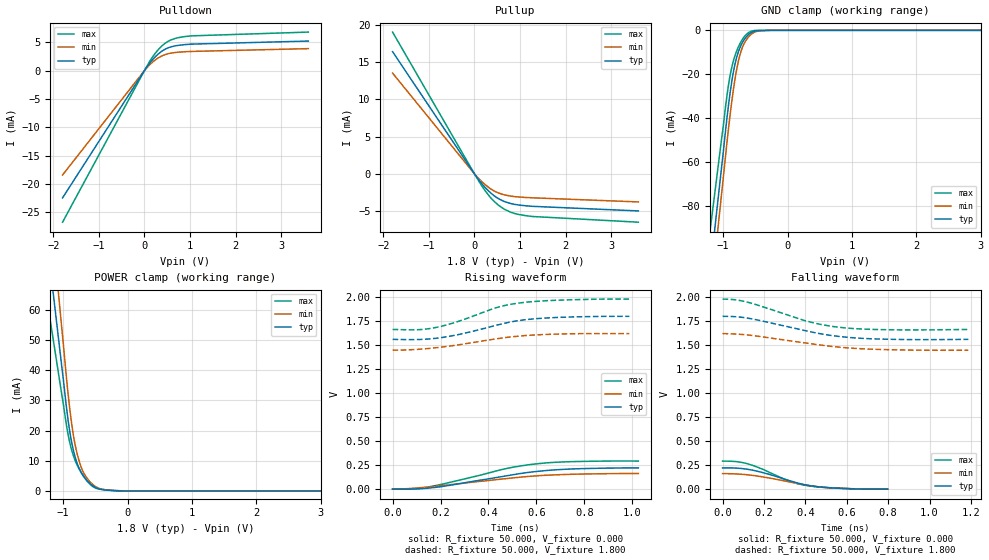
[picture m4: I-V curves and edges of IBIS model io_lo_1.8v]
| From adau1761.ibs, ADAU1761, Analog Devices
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[Model]   io_lo_1.8v
Model_type I/O
Vinl=5.400E-01
Vinh=1.260E+00
Vref=0.000E+00
Rref=1.000E+06
Cref=0.000E+00
Vmeas=9.000E-01
C_comp   5.9300E-13   5.6335E-13   6.2265E-13
[Voltage Range]   1.800E+00   1.620E+00   1.980E+00
[POWER Clamp Reference]   1.800E+00   1.620E+00   1.980E+00
[GND Clamp Reference]   0.000E+00   0.000E+00   0.000E+00
[Pullup Reference]   1.800E+00   1.620E+00   1.980E+00
[Pulldown Reference]   0.000E+00   0.000E+00   0.000E+00
[Temperature Range]   25   85   -40
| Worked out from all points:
|   slope of the pulldown table from 0 to 0.27 V, typ, clamps not added: 101 ohm
|   slope of the pullup table from 0 to 0.27 V, typ, clamps not added: 132 ohm
|   GND clamp passes 1 mA (typ) near -0.56 V on its own axis
|   POWER clamp passes 1 mA (typ) near -0.49 V on its own axis
|   rising waveform, R_fixture 50.000, V_fixture 0.000: 20-80 % time 328ps typ, 367ps min, 297ps max; typ from 0 V to 0.221 V
|   falling waveform, R_fixture 50.000, V_fixture 0.000: 20-80 % time 215ps typ, 247ps min, 198ps max; typ from 0.221 V to 0 V
|   rising waveform, R_fixture 50.000, V_fixture 1.800: 20-80 % time 245ps typ, 281ps min, 227ps max; typ from 1.56 V to 1.8 V
|   falling waveform, R_fixture 50.000, V_fixture 1.800: 20-80 % time 313ps typ, 355ps min, 280ps max; typ from 1.8 V to 1.56 V
[GND Clamp]
-1.8V     -268.6mA   -290.1mA   -230.3mA
-1.02V    -61.15mA   -73.22mA   -48.42mA
-940mV    -39.73mA   -50.88mA   -29.56mA
-900mV    -30.16mA   -40.48mA   -21.87mA
-840mV    -18.83mA   -26.81mA   -13.83mA
-800mV    -13.43mA   -19.4mA    -10.19mA
-760mV    -9.503mA   -13.59mA   -7.341mA
-700mV    -5.509mA   -7.683mA   -4.062mA
-580mV    -1.339mA   -2.195mA   -633.1uA
-460mV    -150.5uA   -377.7uA   -23.99uA
-260mV    0A         0A         0A
3.6V      0A         0A         0A
[Power Clamp]
-1.8V     183.5mA    228.1mA    138.6mA
-1.02V    40.95mA    53.63mA    31.77mA
-920mV    22.93mA    31.48mA    18.32mA
-860mV    15.28mA    21.08mA    12.95mA
-820mV    11.68mA    15.91mA    10.41mA
-760mV    7.89mA     10.52mA    7.596mA
-700mV    5.482mA    6.827mA    5.382mA
-620mV    3.263mA    3.949mA    3.04mA
-520mV    1.403mA    1.792mA    1.2mA
-400mV    439.1uA    567.1uA    515.2uA
-60mV     0A         0A         0A
3.6V      0A         0A         0A
[Pullup]
-1.8V     16.4mA     13.53mA    19.03mA
20mV      -175.8uA   -144uA     -201.8uA
180mV     -1.456mA   -1.144mA   -1.777mA
340mV     -2.458mA   -1.945mA   -3.083mA
540mV     -3.369mA   -2.589mA   -4.254mA
660mV     -3.717mA   -2.815mA   -4.751mA
800mV     -3.979mA   -2.98mA    -5.15mA
1.14V     -4.284mA   -3.163mA   -5.614mA
3.6V      -4.965mA   -3.755mA   -6.475mA
[Pulldown]
-1.8V     -22.47mA   -18.43mA   -26.77mA
40mV      472uA      373.3uA    582.4uA
140mV     1.559mA    1.217mA    1.943mA
260mV     2.605mA    2.001mA    3.279mA
380mV     3.408mA    2.573mA    4.334mA
460mV     3.791mA    2.83mA     4.854mA
680mV     4.363mA    3.188mA    5.677mA
1.02V     4.649mA    3.365mA    6.103mA
3.6V      5.199mA    3.864mA    6.784mA
[Rising Waveform]
R_fixture = 50.000
V_fixture = 0.000
V_fixture_min = 0.000
V_fixture_max = 0.000
|  time   V(typ)   V(min)   V(max)
0s        0V         0V         0V
87.5ps    1.466mV    9.053mV    2.779mV
147.5ps   9.757mV    21.81mV    21.35mV
207.5ps   27.74mV    37.22mV    52.05mV
470ps     136.3mV    108.5mV    211.9mV
527.5ps   160.1mV    123.1mV    238.9mV
587.5ps   180.4mV    136.2mV    259.7mV
655ps     196.5mV    146.1mV    275.9mV
740ps     209.2mV    154.1mV    285.7mV
1.025ns   221.4mV    162.5mV    292.3mV
[Falling Waveform]
R_fixture = 50.000
V_fixture = 0.000
V_fixture_min = 0.000
V_fixture_max = 0.000
|  time   V(typ)   V(min)   V(max)
0s        221.4mV    162.5mV    292.3mV
70ps      218.9mV    158.2mV    286mV
125ps     205.6mV    148.5mV    261.8mV
190ps     175mV      129.1mV    210.9mV
322.5ps   89.02mV    75.5mV     84.64mV
402.5ps   43.65mV    43.31mV    39.17mV
462.5ps   24.61mV    25.04mV    22.75mV
542.5ps   11.41mV    11.52mV    11.73mV
670ps     869.3uV    1.681mV    1.315mV
797.5ps   0V         0V         0V
[Rising Waveform]
R_fixture = 50.000
V_fixture = 1.800
V_fixture_min = 1.620
V_fixture_max = 1.980
|  time   V(typ)   V(min)   V(max)
0s        1.56V      1.447V     1.664V
110ps     1.559V     1.457V     1.661V
187.5ps   1.573V     1.475V     1.687V
280ps     1.613V     1.505V     1.752V
437.5ps   1.71V      1.567V     1.894V
482.5ps   1.736V     1.583V     1.921V
532.5ps   1.758V     1.595V     1.94V
597.5ps   1.776V     1.607V     1.956V
700ps     1.79V      1.616V     1.969V
987.5ps   1.8V       1.62V      1.98V
[Falling Waveform]
R_fixture = 50.000
V_fixture = 1.800
V_fixture_min = 1.620
V_fixture_max = 1.980
|  time   V(typ)   V(min)   V(max)
0s        1.8V       1.62V      1.98V
60ps      1.797V     1.616V     1.972V
115ps     1.784V     1.607V     1.951V
400ps     1.65V      1.523V     1.754V
472.5ps   1.619V     1.501V     1.717V
545ps     1.595V     1.483V     1.691V
637.5ps   1.576V     1.467V     1.672V
755ps     1.564V     1.456V     1.662V
905ps     1.558V     1.449V     1.659V
1.188ns   1.56V      1.447V     1.664V
[Ramp]
dV/dt_r   1.3406E-01/3.2750E-10   9.7828E-02/3.6695E-10   1.7669E-01/2.9664E-10
dV/dt_f   1.4396E-01/3.1172E-10   1.0365E-01/3.5437E-10   1.8980E-01/2.8023E-10
R_load = 50
